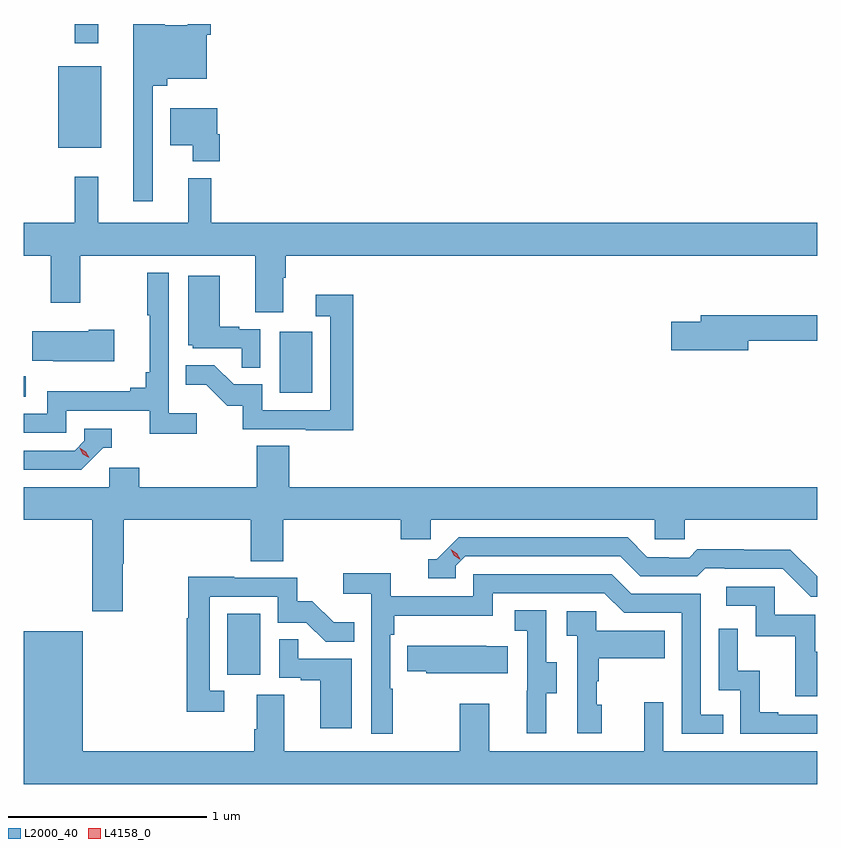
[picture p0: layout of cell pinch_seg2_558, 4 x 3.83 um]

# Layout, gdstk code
import gdstk
lib = gdstk.Library(unit=1e-6, precision=1e-09)
def R(c, l, rs):  # rectangles x0, y0, x1, y1
    for r in rs: c.add(gdstk.rectangle(r[:2], r[2:], *l))
def P(c, l, *ps):  # polygons
    for p in ps: c.add(gdstk.Polygon(p, *l))
L2000_40 = (2000, 40)
L4158_0 = (4158, 0)

pinch_seg2_558 = lib.new_cell('pinch_seg2_558')
R(pinch_seg2_558, L2000_40, [(1129.91,617.55,1130.074,617.857), (1128.883,618.952,1128.892,619.055), (1130.174,618.972,1130.338,619.279), (1129.058,620.207,1129.273,620.617), (1129.141,620.733,1129.258,620.831)])
P(pinch_seg2_558, L2000_40, [(1129.533,620.519),(1129.607,620.519),(1129.607,620.555),(1129.806,620.555),(1129.806,620.777),(1129.826,620.777),(1129.826,620.831),(1129.71,620.831),(1129.71,620.824),(1129.594,620.824),(1129.594,620.831),(1129.436,620.831),(1129.436,619.938),(1129.533,619.938)],
  [(1129.871,620.274),(1129.858,620.274),(1129.858,620.407),(1129.622,620.407),(1129.622,620.219),(1129.736,620.219),(1129.736,620.138),(1129.871,620.138)],
  [(1130.191,619.552),(1130.204,619.552),(1130.204,619.664),(1132.883,619.664),(1132.883,619.828),(1129.829,619.828),(1129.829,620.053),(1129.712,620.053),(1129.712,619.828),(1129.259,619.828),(1129.259,620.062),(1129.141,620.062),(1129.141,619.828),(1128.883,619.828),(1128.883,619.664),(1129.019,619.664),(1129.019,619.425),(1129.167,619.425),(1129.167,619.664),(1130.051,619.664),(1130.051,619.378),(1130.191,619.378)],
  [(1129.756,618.868),(1129.614,618.868),(1129.614,619.576),(1129.506,619.576),(1129.506,619.363),(1129.517,619.363),(1129.517,619.075),(1129.498,619.075),(1129.498,618.998),(1129.421,618.998),(1129.421,618.979),(1129.002,618.979),(1129.002,618.867),(1128.883,618.867),(1128.883,618.771),(1129.098,618.771),(1129.098,618.882),(1129.517,618.882),(1129.517,618.766),(1129.756,618.766)],
  [(1130.076,619.293),(1129.97,619.293),(1129.97,619.306),(1129.87,619.306),(1129.87,619.561),(1129.712,619.561),(1129.712,619.212),(1129.734,619.212),(1129.734,619.197),(1129.981,619.197),(1129.981,619.099),(1130.076,619.099)],
  [(1130.543,619.465),(1130.355,619.465),(1130.355,619.359),(1130.427,619.359),(1130.427,618.885),(1130.085,618.885),(1130.085,619.014),(1129.941,619.014),(1129.843,619.112),(1129.699,619.112),(1129.699,619.013),(1129.803,619.013),(1129.91,618.906),(1129.987,618.906),(1129.987,618.789),(1130.305,618.789),(1130.305,618.784),(1130.543,618.784)],
  [(1132.534,619.234),(1132.883,619.234),(1132.883,619.363),(1132.295,619.363),(1132.295,619.329),(1132.146,619.329),(1132.146,619.187),(1132.534,619.187)],
  [(1129.339,619.29),(1129.211,619.29),(1129.211,619.282),(1128.925,619.282),(1128.925,619.133),(1129.033,619.133),(1129.033,619.13),(1129.339,619.13)],
  [(1129.284,618.696),(1129.327,618.696),(1129.327,618.792),(1129.188,618.792),(1129.188,618.729),(1129.14,618.681),(1128.883,618.681),(1128.883,618.585),(1129.173,618.585)],
  [(1129.383,618.11),(1129.388,618.11),(1129.388,618.332),(1130.027,618.332),(1130.027,618.124),(1130.192,618.124),(1130.192,618.332),(1130.783,618.332),(1130.783,618.234),(1130.934,618.234),(1130.934,618.332),(1132.065,618.332),(1132.065,618.234),(1132.215,618.234),(1132.215,618.332),(1132.883,618.332),(1132.883,618.496),(1130.222,618.496),(1130.222,618.704),(1130.057,618.704),(1130.057,618.496),(1129.466,618.496),(1129.466,618.594),(1129.314,618.594),(1129.314,618.496),(1128.883,618.496),(1128.883,618.332),(1129.228,618.332),(1129.228,617.871),(1129.383,617.871)],
  [(1132.883,618.046),(1132.748,618.181),(1132.512,618.181),(1132.512,618.184),(1132.279,618.184),(1132.237,618.141),(1132.134,618.141),(1132.134,618.144),(1132.027,618.144),(1131.928,618.243),(1131.075,618.243),(1130.964,618.132),(1130.921,618.132),(1130.921,618.036),(1131.06,618.036),(1131.06,618.099),(1131.108,618.147),(1131.891,618.147),(1131.99,618.048),(1132.279,618.048),(1132.318,618.087),(1132.417,618.087),(1132.417,618.084),(1132.71,618.084),(1132.851,617.943),(1132.883,617.943)],
  [(1130.743,617.48),(1130.73,617.48),(1130.73,617.753),(1130.75,617.753),(1130.75,617.849),(1131.246,617.849),(1131.246,617.961),(1131.81,617.961),(1131.909,617.862),(1132.2,617.862),(1132.2,617.253),(1132.409,617.253),(1132.409,617.349),(1132.296,617.349),(1132.296,617.958),(1131.946,617.958),(1131.847,618.057),(1131.15,618.057),(1131.15,617.946),(1130.732,617.946),(1130.732,618.062),(1130.493,618.062),(1130.493,617.96),(1130.634,617.96),(1130.634,617.253),(1130.743,617.253)],
  [(1129.894,617.469),(1129.821,617.469),(1129.821,617.943),(1130.163,617.943),(1130.163,617.814),(1130.307,617.814),(1130.405,617.716),(1130.549,617.716),(1130.549,617.815),(1130.445,617.815),(1130.338,617.922),(1130.262,617.922),(1130.262,618.039),(1129.943,618.039),(1129.943,618.044),(1129.713,618.044),(1129.713,617.836),(1129.705,617.836),(1129.705,617.364),(1129.894,617.364)],
  [(1132.883,617.667),(1132.873,617.667),(1132.873,617.853),(1132.668,617.853),(1132.668,617.994),(1132.425,617.994),(1132.425,617.898),(1132.572,617.898),(1132.572,617.745),(1132.771,617.745),(1132.771,617.442),(1132.883,617.442)],
  [(1131.517,617.458),(1131.571,617.458),(1131.571,617.613),(1131.516,617.613),(1131.516,617.876),(1131.357,617.876),(1131.357,617.773),(1131.42,617.773),(1131.42,617.469),(1131.419,617.469),(1131.419,617.256),(1131.517,617.256)],
  [(1131.796,617.4),(1131.771,617.4),(1131.771,617.519),(1131.781,617.519),(1131.781,617.633),(1132.115,617.633),(1132.115,617.773),(1131.768,617.773),(1131.768,617.871),(1131.621,617.871),(1131.621,617.747),(1131.672,617.747),(1131.672,617.256),(1131.796,617.256)],
  [(1132.883,617.349),(1132.687,617.349),(1132.687,617.362),(1132.592,617.362),(1132.592,617.57),(1132.482,617.57),(1132.482,617.782),(1132.386,617.782),(1132.386,617.472),(1132.494,617.472),(1132.494,617.253),(1132.883,617.253)],
  [(1132.883,617.164),(1132.107,617.164),(1132.107,617.413),(1132.01,617.413),(1132.01,617.164),(1131.229,617.164),(1131.229,617.404),(1131.082,617.404),(1131.082,617.164),(1130.197,617.164),(1130.197,617.45),(1130.057,617.45),(1130.057,617.276),(1130.045,617.276),(1130.045,617.164),(1129.18,617.164),(1129.18,617.77),(1128.883,617.77),(1128.883,617),(1132.883,617)],
  [(1130.536,617.631),(1130.267,617.631),(1130.267,617.729),(1130.172,617.729),(1130.172,617.535),(1130.279,617.535),(1130.279,617.523),(1130.378,617.523),(1130.378,617.28),(1130.536,617.28)],
  [(1131.323,617.695),(1131.215,617.695),(1131.215,617.698),(1130.815,617.698),(1130.815,617.569),(1130.913,617.569),(1130.913,617.558),(1131.323,617.558)])
P(pinch_seg2_558, L4158_0, [(1129.212,618.644),(1129.181,618.663),(1129.165,618.696),(1129.165,618.696),(1129.166,618.696),(1129.196,618.676),(1129.212,618.644),(1129.212,618.644)],
  [(1131.082,618.132),(1131.052,618.151),(1131.035,618.183),(1131.035,618.183),(1131.035,618.183),(1131.066,618.164),(1131.083,618.132),(1131.083,618.132)])

lib.write_gds('pinch_seg2_558.gds')
